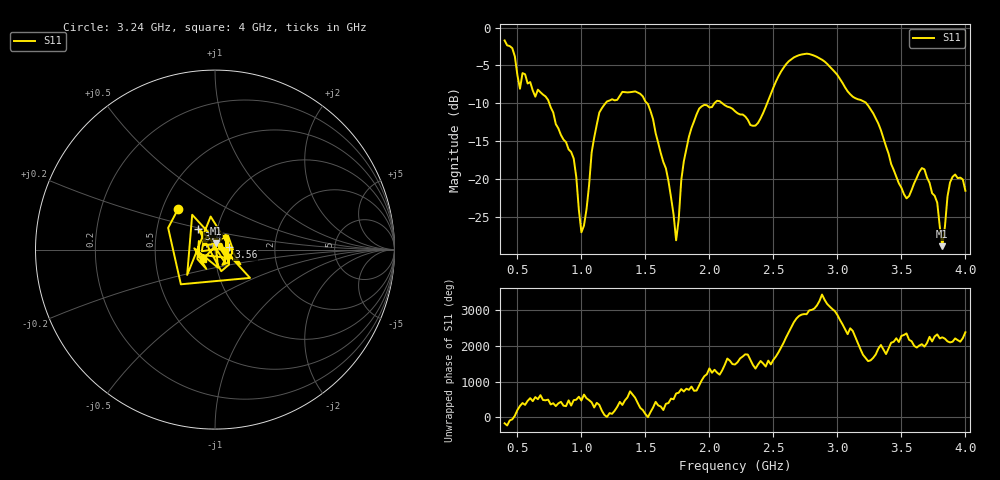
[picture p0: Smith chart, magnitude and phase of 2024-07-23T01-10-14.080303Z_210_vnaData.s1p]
!Created with skrf (http://scikit-rf.org).
# Hz S RI R 50.0
!freq ReS11 ImS11
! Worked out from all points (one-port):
!   181 points, 400 MHz to 4 GHz, reference 50 ohm
!   lowest |S11| = -28.9 dB at 3.82 GHz (marker M1), VSWR 1.07, Z = 50.6 + j3.56 ohm
!   |S11| at or under -10 dB: 749 MHz to 1.188 GHz (438.9 MHz wide, 45.3 % of centre); 1.513 GHz to 2.039 GHz (525.3 MHz wide, 29.6 % of centre); 3.226 GHz to end of sweep (the widest 3 of 4)
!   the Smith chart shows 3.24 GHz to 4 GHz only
!   S11 on the Smith chart (normalised r, x): 3.24 GHz: 0.60, +0.30; 3.4 GHz: 0.81, +0.19; 3.56 GHz: 1.16, +0.03; 4 GHz: 0.87, -0.09
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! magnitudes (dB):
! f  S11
! 400 MHz  -1.7
! 460 MHz  -2.7
! 520 MHz  -8.1
! 540 MHz  -6.0
! 720 MHz  -9.1
! 860 MHz  -14.8
! 940 MHz  -17.3
! 1 GHz  -27.1
! 1.14 GHz  -11.2
! 1.3 GHz  -9.0
! 1.52 GHz  -10.1
! 1.66 GHz  -18.6
! 1.74 GHz  -28.1
! 1.76 GHz  -25.4
! 1.8 GHz  -17.7
! 1.92 GHz  -10.7
! 2.2 GHz  -11.1
! 2.36 GHz  -13.0
! 2.66 GHz  -3.9
! 3.1 GHz  -8.8
! 3.24 GHz  -10.3
! 3.4 GHz  -16.7
! 3.56 GHz  -22.3
! 3.68 GHz  -18.7
! 3.78 GHz  -23.1
! 3.82 GHz  -28.9
! 3.88 GHz  -20.5
! 4 GHz  -21.6
